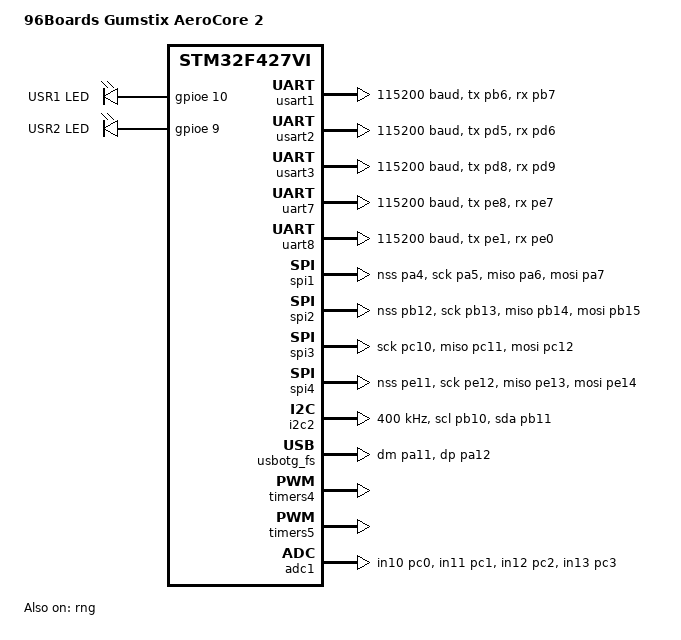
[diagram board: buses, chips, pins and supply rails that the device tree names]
/*
 * Copyright (c) 2020 Linaro Limited
 *
 * SPDX-License-Identifier: Apache-2.0
 */

/dts-v1/;

#include <st/f4/stm32f427vi.dtsi>
#include <st/f4/stm32f427v(g-i)tx-pinctrl.dtsi>

/ {
	model = "96Boards Gumstix AeroCore 2";
	compatible = "gumstix,aerocore2";

	chosen {
		zephyr,console = &uart7;
		zephyr,shell-uart = &uart7;
		zephyr,sram = &sram0;
		zephyr,flash = &flash0;
		zephyr,ccm = &ccm0;
	};

	leds {
		compatible = "gpio-leds";
		yellow_led_1: led_1 {
			gpios = <&gpioe 10 GPIO_ACTIVE_HIGH>;
			label = "USR1 LED";
		};
		blue_led_2: led_2 {
			gpios = <&gpioe 9 GPIO_ACTIVE_HIGH>;
			label = "USR2 LED";
		};
	};

	aliases {
		led0 = &yellow_led_1;
		led1 = &blue_led_2;
	};

};

&usart1 {
	pinctrl-0 = <&usart1_tx_pb6 &usart1_rx_pb7>;
	current-speed = <115200>;
	status = "okay";
};

&usart2 {
	pinctrl-0 = <&usart2_tx_pd5 &usart2_rx_pd6>;
	current-speed = <115200>;
	status = "okay";
};

&usart3 {
	pinctrl-0 = <&usart3_tx_pd8 &usart3_rx_pd9>;
	current-speed = <115200>;
	status = "okay";
};

&uart7 {
	pinctrl-0 = <&uart7_tx_pe8 &uart7_rx_pe7>;
	current-speed = <115200>;
	status = "okay";
};

&uart8 {
	pinctrl-0 = <&uart8_tx_pe1 &uart8_rx_pe0>;
	current-speed = <115200>;
	status = "okay";
};

&spi1_nss_pa4 { slew-rate = "very-high-speed"; };

&spi1 {
	pinctrl-0 = <&spi1_nss_pa4 &spi1_sck_pa5
		     &spi1_miso_pa6 &spi1_mosi_pa7>;
	status = "okay";
};

&spi2_nss_pb12 { slew-rate = "very-high-speed"; };

&spi2 {
	pinctrl-0 = <&spi2_nss_pb12 &spi2_sck_pb13
		     &spi2_miso_pb14 &spi2_mosi_pb15>;
	status = "okay";
};

&spi3 {
	pinctrl-0 = <&spi3_sck_pc10 &spi3_miso_pc11 &spi3_mosi_pc12>;
	status = "okay";
};

&spi4_nss_pe11 { slew-rate = "very-high-speed"; };

&spi4 {
	pinctrl-0 = <&spi4_nss_pe11 &spi4_sck_pe12
		     &spi4_miso_pe13 &spi4_mosi_pe14>;
	status = "okay";
};

&i2c2 {
	pinctrl-0 = <&i2c2_scl_pb10 &i2c2_sda_pb11>;
	status = "okay";
	clock-frequency = <I2C_BITRATE_FAST>;
};

&usbotg_fs {
	pinctrl-0 = <&usb_otg_fs_dm_pa11 &usb_otg_fs_dp_pa12>;
	status = "okay";
};

&timers4 {
	status = "okay";

	pwm4: pwm {
		status = "okay";
		pinctrl-0 = <&tim4_ch1_pd12
			     &tim4_ch2_pd13
			     &tim4_ch3_pd14
			     &tim4_ch4_pd15>;
	};
};

&timers5 {
	status = "okay";

	pwm5: pwm {
		status = "okay";
		pinctrl-0 = <&tim5_ch1_pa0
			     &tim5_ch2_pa1
			     &tim5_ch3_pa2
			     &tim5_ch4_pa3>;
	};
};

&adc1 {
	pinctrl-0 = <&adc1_in10_pc0 &adc1_in11_pc1
		     &adc1_in12_pc2 &adc1_in13_pc3>;
	status = "okay";
};

&rng {
	status = "okay";
};
